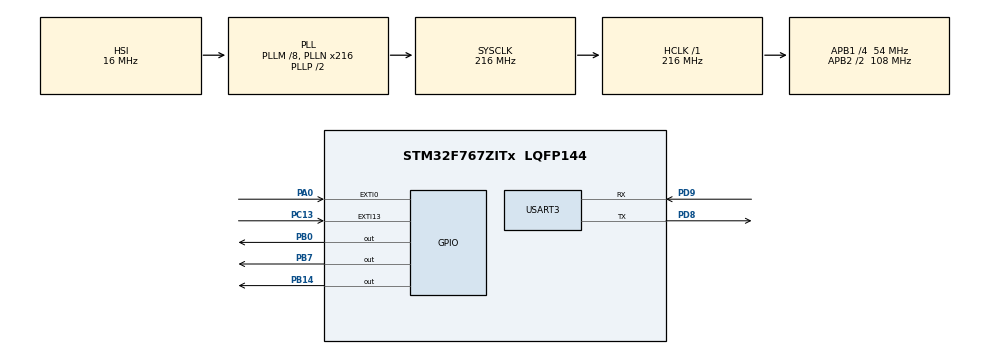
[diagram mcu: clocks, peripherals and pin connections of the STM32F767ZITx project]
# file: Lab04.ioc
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Mcu.Family=STM32F7
Mcu.Name=STM32F767ZITx
Mcu.Package=LQFP144
NVIC.EXTI0_IRQn=true\:2\:3\:true\:false\:true\:true\:true\:true
NVIC.EXTI15_10_IRQn=true\:3\:1\:true\:false\:true\:true\:true\:true
NVIC.PriorityGroup=NVIC_PRIORITYGROUP_2
PA0/WKUP.GPIO_ModeDefaultEXTI=GPIO_MODE_IT_FALLING
PA0/WKUP.GPIO_PuPd=GPIO_NOPULL
PA0/WKUP.Signal=GPXTI0
PB0.Signal=GPIO_Output
PB14.Signal=GPIO_Output
PB7.Signal=GPIO_Output
PC13.Signal=GPXTI13
PD8.Mode=Asynchronous
PD8.Signal=USART3_TX
PD9.Mode=Asynchronous
PD9.Signal=USART3_RX
ProjectManager.HeapSize=0x200
ProjectManager.StackSize=0x400
ProjectManager.TargetToolchain=STM32CubeIDE
RCC.AHBFreq_Value=216000000
RCC.APB1CLKDivider=RCC_HCLK_DIV4
RCC.APB1Freq_Value=54000000
RCC.APB1TimFreq_Value=108000000
RCC.APB2CLKDivider=RCC_HCLK_DIV2
RCC.APB2Freq_Value=108000000
RCC.APB2TimFreq_Value=216000000
RCC.CortexFreq_Value=216000000
RCC.HCLKFreq_Value=216000000
RCC.HSE_VALUE=25000000
RCC.HSI_VALUE=16000000
RCC.LSE_VALUE=32768
RCC.PLLM=8
RCC.PLLN=216
RCC.SYSCLKFreq_VALUE=216000000
RCC.SYSCLKSource=RCC_SYSCLKSOURCE_PLLCLK
RCC.USBFreq_Value=216000000
RCC.VCOOutputFreq_Value=432000000
USART3.VirtualMode-Asynchronous=VM_ASYNC
board=custom

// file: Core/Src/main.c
/* USER CODE BEGIN Header */
/**
  ******************************************************************************
  * @file           : main.c
  * @brief          : Main program body
  ******************************************************************************
  * @attention
  *
  * Copyright (c) 2023 STMicroelectronics.
  * All rights reserved.
  *
  * This software is licensed under terms that can be found in the LICENSE file
  * in the root directory of this software component.
  * If no LICENSE file comes with this software, it is provided AS-IS.
  *
  ******************************************************************************
  */
/* USER CODE END Header */
#include "main.h"
#include "usart.h"
#include "gpio.h"

void SystemClock_Config(void);

int main(void)
{

  /* MCU Configuration--------------------------------------------------------*/

  /* Reset of all peripherals, Initializes the Flash interface and the Systick. */
  HAL_Init();

  /* Configure the system clock */
  SystemClock_Config();

  /* Initialize all configured peripherals */
  MX_GPIO_Init();
  MX_USART3_UART_Init();

  /* Infinite loop */
  while (1)
  {

    /* USER CODE BEGIN 3 */
	  HAL_UART_Transmit(&huart3, (uint8_t *) ".",3,400);
	  HAL_Delay(400);
  }
  /* USER CODE END 3 */
}

void SystemClock_Config(void)
{
  RCC_OscInitTypeDef RCC_OscInitStruct = {0};
  RCC_ClkInitTypeDef RCC_ClkInitStruct = {0};

  /** Configure the main internal regulator output voltage
  */
  __HAL_RCC_PWR_CLK_ENABLE();
  __HAL_PWR_VOLTAGESCALING_CONFIG(PWR_REGULATOR_VOLTAGE_SCALE1);

  /** Initializes the RCC Oscillators according to the specified parameters
  * in the RCC_OscInitTypeDef structure.
  */
  RCC_OscInitStruct.OscillatorType = RCC_OSCILLATORTYPE_HSI;
  RCC_OscInitStruct.HSIState = RCC_HSI_ON;
  RCC_OscInitStruct.HSICalibrationValue = RCC_HSICALIBRATION_DEFAULT;
  RCC_OscInitStruct.PLL.PLLState = RCC_PLL_ON;
  RCC_OscInitStruct.PLL.PLLSource = RCC_PLLSOURCE_HSI;
  RCC_OscInitStruct.PLL.PLLM = 8;
  RCC_OscInitStruct.PLL.PLLN = 216;
  RCC_OscInitStruct.PLL.PLLP = RCC_PLLP_DIV2;
  RCC_OscInitStruct.PLL.PLLQ = 2;
  RCC_OscInitStruct.PLL.PLLR = 2;
  if (HAL_RCC_OscConfig(&RCC_OscInitStruct) != HAL_OK)
  {
    Error_Handler();
  }

  /** Activate the Over-Drive mode
  */
  if (HAL_PWREx_EnableOverDrive() != HAL_OK)
  {
    Error_Handler();
  }

  /** Initializes the CPU, AHB and APB buses clocks
  */
  RCC_ClkInitStruct.ClockType = RCC_CLOCKTYPE_HCLK|RCC_CLOCKTYPE_SYSCLK
                              |RCC_CLOCKTYPE_PCLK1|RCC_CLOCKTYPE_PCLK2;
  RCC_ClkInitStruct.SYSCLKSource = RCC_SYSCLKSOURCE_PLLCLK;
  RCC_ClkInitStruct.AHBCLKDivider = RCC_SYSCLK_DIV1;
  RCC_ClkInitStruct.APB1CLKDivider = RCC_HCLK_DIV4;
  RCC_ClkInitStruct.APB2CLKDivider = RCC_HCLK_DIV2;

  if (HAL_RCC_ClockConfig(&RCC_ClkInitStruct, FLASH_LATENCY_7) != HAL_OK)
  {
    Error_Handler();
  }
}

/* USER CODE BEGIN 4 */
void HAL_GPIO_EXTI_Callback(uint16_t GPIO_PIN){
	if (GPIO_PIN == GPIO_PIN_13){
		HAL_UART_Transmit(&huart3, (uint8_t *) "---",3,100);
		HAL_Delay(200);
		for(int i = 0; i < 20; i++){
			HAL_UART_Transmit(&huart3, (uint8_t *) "B",1,100);
			HAL_Delay(200);
		}
	}
	else if (GPIO_PIN == GPIO_PIN_0){
		if (HAL_GPIO_ReadPin(GPIOB, GPIO_PIN_14) == GPIO_PIN_RESET){
			HAL_GPIO_WritePin(GPIOB,GPIO_PIN_14,GPIO_PIN_SET);
		}
		else{
			HAL_GPIO_WritePin(GPIOB,GPIO_PIN_14,GPIO_PIN_RESET);
		}
		HAL_UART_Transmit(&huart3, (uint8_t *) "---",3,100);
		HAL_Delay(200);
		for(int i = 0; i < 20; i++){
			HAL_UART_Transmit(&huart3, (uint8_t *) "E",1,100);
			HAL_Delay(200);
		}

	}
}
/* USER CODE END 4 */

void Error_Handler(void)
{
  __disable_irq();
  while (1)
  {
  }
}
